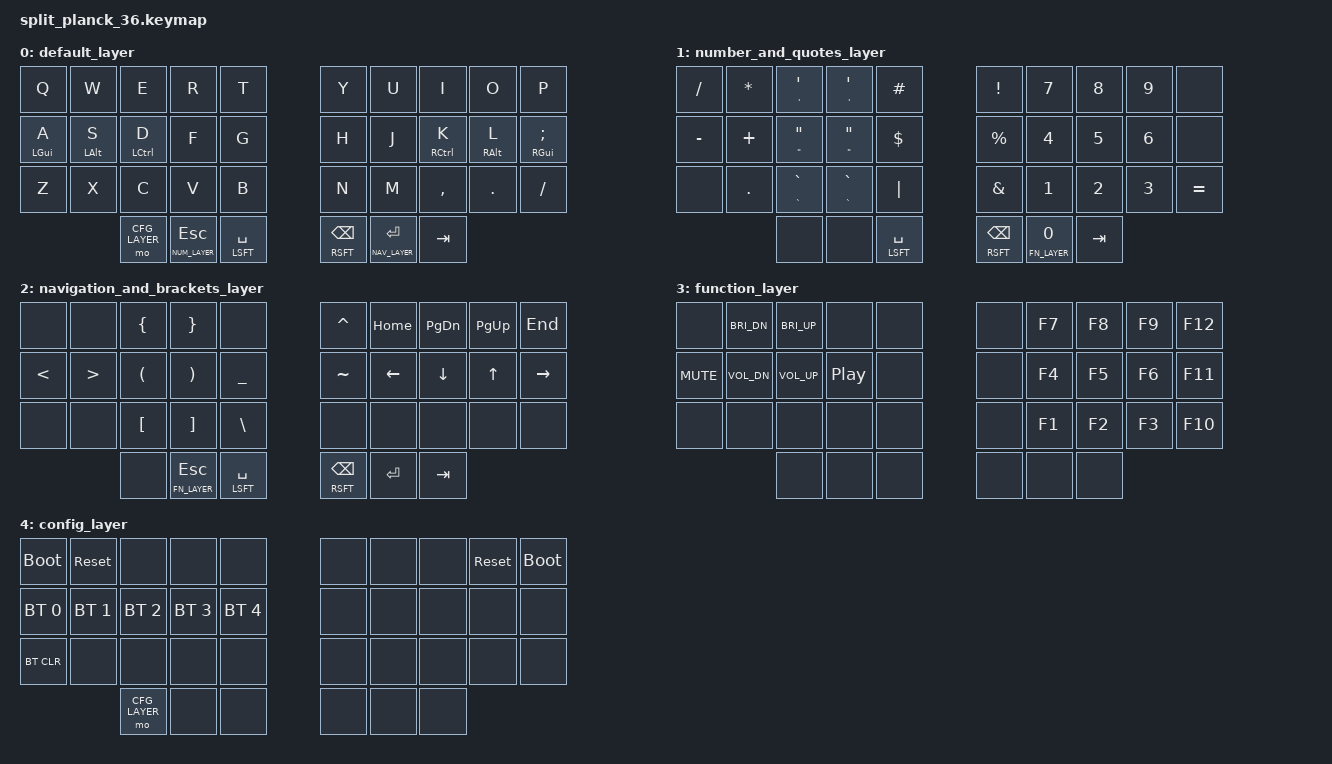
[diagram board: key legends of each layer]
#include <behaviors.dtsi>
#include <dt-bindings/zmk/keys.h>
#include <dt-bindings/zmk/bt.h>

#define DEFAULT_LAYER 0
#define NUM_LAYER 1
#define NAV_LAYER 2
#define FN_LAYER 3
#define CFG_LAYER 4

&mt {
  tapping-term-ms = <500>;
  quick_tap_ms = <200>;
};

/ {
  behaviors {
    hm: homerow_mods {
      compatible = "zmk,behavior-hold-tap";
      label = "HOMEROW_MODS";
      #binding-cells = <2>;
      tapping-term-ms = <175>;
      quick_tap_ms = <0>;
      flavor = "tap-preferred";
      bindings = <&kp>, <&kp>;
    };

    mt_t: key_tap_preferred {
      compatible = "zmk,behavior-hold-tap";
      label = "KEY_TAP_PREFERRED";
      #binding-cells = <2>;
      tapping-term-ms = <175>;
      quick_tap_ms = <175>;
      flavor = "tap-preferred";
      bindings = <&kp>, <&kp>;
    };

    mt_s: key_tap_preferred_fast {
      compatible = "zmk,behavior-hold-tap";
      label = "KEY_TAP_PREFERRED_FAST";
      #binding-cells = <2>;
      tapping-term-ms = <150>;
      quick_tap_ms = <250>;
      flavor = "tap-preferred";
      bindings = <&kp>, <&kp>;
    };

    lt_h: layer_hold_preferred {
      compatible = "zmk,behavior-hold-tap";
      label = "LAYER_HOLD_PREFERRED";
      #binding-cells = <2>;
      tapping-term-ms = <150>;
      quick_tap_ms = <150>;
      flavor = "hold-preferred";
      bindings = <&mo>, <&kp>;
    };
  };

  keymap {
    compatible = "zmk,keymap";

    default_layer {
      bindings = <
         &kp Q       &kp W       &kp E          &kp R                &kp T                       &kp Y            &kp U                  &kp I       &kp O       &kp P
         &hm LGUI A  &hm LALT S  &hm LCTL D     &kp F                &kp G                       &kp H            &kp J                  &hm RCTL K  &hm RALT L  &hm RGUI SEMI
         &kp Z       &kp X       &kp C          &kp V                &kp B                       &kp N            &kp M                  &kp COMMA   &kp DOT     &kp FSLH
                                 &mo CFG_LAYER  &lt_h NUM_LAYER ESC  &mt_s LSFT SPACE            &mt RSFT BSPC    &lt_h NAV_LAYER ENTER  &kp TAB
      >;
    };

    number_and_quotes_layer {
      bindings = <
         &kp SLASH  &kp ASTRK  &mt_t SQT SQT      &mt_t SQT SQT      &kp HASH                       &kp EXCL         &kp N7           &kp N8  &kp N9  &none
         &kp MINUS  &kp PLUS   &mt_t DQT DQT      &mt_t DQT DQT      &kp DOLLAR                     &kp PRCNT        &kp N4           &kp N5  &kp N6  &none
         &none      &kp DOT    &mt_t GRAVE GRAVE  &mt_t GRAVE GRAVE  &kp PIPE                       &kp AMPS         &kp N1           &kp N2  &kp N3  &kp EQUAL
                               &none              &none              &mt_s LSFT SPACE               &mt RSFT BSPC    &lt FN_LAYER N0  &kp TAB
      >;
    };

    navigation_and_brackets_layer {
      bindings = <
         &none   &none   &kp LBRC  &kp RBRC           &none                          &kp CARET        &kp HOME    &kp PG_DN  &kp PG_UP  &kp END
         &kp LT  &kp GT  &kp LPAR  &kp RPAR           &kp UNDER                      &kp TILDE        &kp LEFT    &kp DOWN   &kp UP     &kp RIGHT
         &none   &none   &kp LBKT  &kp RBKT           &kp BSLH                       &none            &none       &none      &none      &none
                         &none     &lt FN_LAYER ESC   &mt_s LSFT SPACE               &mt RSFT BSPC    &kp ENTER   &kp TAB
      >;
    };

    function_layer {
      bindings = <
         &none       &kp C_BRI_DN  &kp C_BRI_UP  &none     &none                    &none   &kp F7   &kp F8  &kp F9  &kp F12
         &kp C_MUTE  &kp C_VOL_DN  &kp C_VOL_UP  &kp C_PP  &none                    &none   &kp F4   &kp F5  &kp F6  &kp F11
         &none       &none         &none         &none     &none                    &none   &kp F1   &kp F2  &kp F3  &kp F10
                                   &none         &none     &none                    &none   &none    &none
      >;
    };

    config_layer {
      bindings = <
         &bootloader   &sys_reset    &none          &none         &none                    &none   &none   &none  &sys_reset  &bootloader
         &bt BT_SEL 0  &bt BT_SEL 1  &bt BT_SEL 2   &bt BT_SEL 3  &bt BT_SEL 4             &none   &none   &none  &none       &none
         &bt BT_CLR    &none         &none          &none         &none                    &none   &none   &none  &none       &none
                                     &mo CFG_LAYER  &none         &none                    &none   &none   &none
      >;
    };
  };
};
